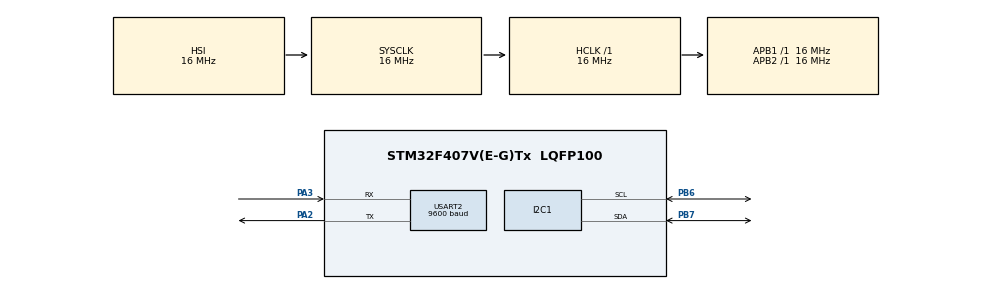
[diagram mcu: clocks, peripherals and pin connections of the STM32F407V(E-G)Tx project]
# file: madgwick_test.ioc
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Mcu.Family=STM32F4
Mcu.Name=STM32F407V(E-G)Tx
Mcu.Package=LQFP100
NVIC.I2C1_ER_IRQn=true\:0\:0\:false\:false\:true\:true\:true\:true
NVIC.I2C1_EV_IRQn=true\:0\:0\:false\:false\:true\:true\:true\:true
NVIC.PriorityGroup=NVIC_PRIORITYGROUP_4
PA2.Mode=Asynchronous
PA2.Signal=USART2_TX
PA3.Mode=Asynchronous
PA3.Signal=USART2_RX
PB6.Mode=I2C
PB6.Signal=I2C1_SCL
PB7.Mode=I2C
PB7.Signal=I2C1_SDA
PH0-OSC_IN.Mode=HSE-External-Oscillator
PH0-OSC_IN.Signal=RCC_OSC_IN
PH1-OSC_OUT.Mode=HSE-External-Oscillator
PH1-OSC_OUT.Signal=RCC_OSC_OUT
ProjectManager.HeapSize=0x200
ProjectManager.StackSize=0x400
ProjectManager.TargetToolchain=STM32CubeIDE
RCC.48MHZClocksFreq_Value=75000000
RCC.AHBFreq_Value=16000000
RCC.APB1Freq_Value=16000000
RCC.APB2Freq_Value=16000000
RCC.CortexFreq_Value=16000000
RCC.HSE_VALUE=25000000
RCC.HSI_VALUE=16000000
RCC.LSE_VALUE=32768
RCC.PLLSourceVirtual=RCC_PLLSOURCE_HSE
RCC.SYSCLKFreq_VALUE=16000000
RCC.VCOOutputFreq_Value=300000000
USART2.BaudRate=9600
USART2.Mode=MODE_TX
USART2.VirtualMode=VM_ASYNC
board=custom

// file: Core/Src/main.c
/* USER CODE BEGIN Header */
/**
  ******************************************************************************
  * @file           : main.c
  * @brief          : Main program body
  ******************************************************************************
  * @attention
  *
  * Copyright (c) 2023 STMicroelectronics.
  * All rights reserved.
  *
  * This software is licensed under terms that can be found in the LICENSE file
  * in the root directory of this software component.
  * If no LICENSE file comes with this software, it is provided AS-IS.
  *
  ******************************************************************************
  */
/* USER CODE END Header */
#include "main.h"

/* USER CODE BEGIN Includes */
#include "lis331dlh.h"
#include "i3g4250d.h"
#include "lis3mdl.h"
#include "Fusion.h"
#include <string.h>
#include <stdio.h>
/* USER CODE END Includes */

/* USER CODE BEGIN PD */
#define BOOT_TIME				5 //ms
/* USER CODE END PD */

I2C_HandleTypeDef hi2c1;

UART_HandleTypeDef huart2;

/* USER CODE BEGIN PV */
stmdev_ctx_t lis331dlh_ctx;
stmdev_ctx_t i3g4250d_ctx;
stmdev_ctx_t lis3mdl_ctx;
static float magnetic_data[3];
static float acceleration_data[3];
static float gyro_data[3];
static int32_t ret;
static FusionAhrs ahrs;

/* USER CODE END PV */

void SystemClock_Config(void);
static void MX_GPIO_Init(void);
static void MX_I2C1_Init(void);
static void MX_USART2_UART_Init(void);
/* USER CODE BEGIN PFP */
#ifdef __GNUC__
#define PUTCHAR_PROTOTYPE int __io_putchar(int ch)
#else
#define PUTCHAR_PROTOTYPE int fputc(int ch, FILE *f)
#endif
PUTCHAR_PROTOTYPE
{
  HAL_UART_Transmit(&huart2, (uint8_t *)&ch, 1, HAL_MAX_DELAY);
  return ch;
}
static uint8_t tx_buffer[1000];
static void tx_com(uint8_t *tx_buffer, uint16_t len);
/* USER CODE END PFP */

int main(void)
{

  /* MCU Configuration--------------------------------------------------------*/

  /* Reset of all peripherals, Initializes the Flash interface and the Systick. */
  HAL_Init();

  /* USER CODE BEGIN Init */
  FusionAhrsInitialise(&ahrs);
  /* USER CODE END Init */

  /* Configure the system clock */
  SystemClock_Config();

  /* Initialize all configured peripherals */
  MX_GPIO_Init();
  MX_I2C1_Init();
  MX_USART2_UART_Init();
  /* USER CODE BEGIN 2 */

  ret = configure_lis331dlh(&hi2c1, &lis331dlh_ctx);
  if(ret != 0)
  {
	  Error_Handler();
  }

  ret = configure_i3g4250d(&hi2c1, &i3g4250d_ctx);
  if(ret != 0)
  {
	 Error_Handler();
  }

  ret = configure_lis3mdl(&hi2c1, &lis3mdl_ctx);
  if(ret != 0)
  {
    Error_Handler();
  }
  sprintf((char *)tx_buffer, "All devices are up!\n");
  tx_com(tx_buffer, strlen((char const *)tx_buffer));

  /* USER CODE END 2 */

  /* Infinite loop */
  /* USER CODE BEGIN WHILE */

  while (1)
  {
	const char sym = "sas";
	HAL_UART_Transmit(&huart2, (uint8_t *)&sym, 1, HAL_MAX_DELAY);
    /* USER CODE END WHILE */

    /* USER CODE BEGIN 3 */
	ret = read_acceleration_data(&lis331dlh_ctx, acceleration_data);
	ret = read_gyroscope_data_fifo(&i3g4250d_ctx, gyro_data);
	ret = read_mag_data(&lis3mdl_ctx, magnetic_data);
	const FusionVector gyro = {{gyro_data[0], gyro_data[1], gyro_data[2]}};
	const FusionVector acceleration = {{acceleration_data[0], acceleration_data[1], acceleration_data[2]}};
	const FusionVector magnetic= {{magnetic_data[0], magnetic_data[1], magnetic_data[2]}};

	FusionAhrsUpdate(&ahrs, gyro, acceleration, magnetic, 0.01f);
	const FusionEuler euler = FusionQuaternionToEuler(FusionAhrsGetQuaternion(&ahrs));
	sprintf((char *)tx_buffer, "Roll %0.1f, Pitch %0.1f, Yaw %0.1f\n", euler.angle.roll, euler.angle.pitch, euler.angle.yaw);
	tx_com(tx_buffer, strlen((char const *)tx_buffer));
  }
  /* USER CODE END 3 */
}

void SystemClock_Config(void)
{
  RCC_OscInitTypeDef RCC_OscInitStruct = {0};
  RCC_ClkInitTypeDef RCC_ClkInitStruct = {0};

  /** Configure the main internal regulator output voltage
  */
  __HAL_RCC_PWR_CLK_ENABLE();
  __HAL_PWR_VOLTAGESCALING_CONFIG(PWR_REGULATOR_VOLTAGE_SCALE1);

  /** Initializes the RCC Oscillators according to the specified parameters
  * in the RCC_OscInitTypeDef structure.
  */
  RCC_OscInitStruct.OscillatorType = RCC_OSCILLATORTYPE_HSI;
  RCC_OscInitStruct.HSIState = RCC_HSI_ON;
  RCC_OscInitStruct.HSICalibrationValue = RCC_HSICALIBRATION_DEFAULT;
  RCC_OscInitStruct.PLL.PLLState = RCC_PLL_NONE;
  if (HAL_RCC_OscConfig(&RCC_OscInitStruct) != HAL_OK)
  {
    Error_Handler();
  }

  /** Initializes the CPU, AHB and APB buses clocks
  */
  RCC_ClkInitStruct.ClockType = RCC_CLOCKTYPE_HCLK|RCC_CLOCKTYPE_SYSCLK
                              |RCC_CLOCKTYPE_PCLK1|RCC_CLOCKTYPE_PCLK2;
  RCC_ClkInitStruct.SYSCLKSource = RCC_SYSCLKSOURCE_HSI;
  RCC_ClkInitStruct.AHBCLKDivider = RCC_SYSCLK_DIV1;
  RCC_ClkInitStruct.APB1CLKDivider = RCC_HCLK_DIV1;
  RCC_ClkInitStruct.APB2CLKDivider = RCC_HCLK_DIV1;

  if (HAL_RCC_ClockConfig(&RCC_ClkInitStruct, FLASH_LATENCY_0) != HAL_OK)
  {
    Error_Handler();
  }
}

static void MX_I2C1_Init(void)
{

  hi2c1.Instance = I2C1;
  hi2c1.Init.ClockSpeed = 100000;
  hi2c1.Init.DutyCycle = I2C_DUTYCYCLE_2;
  hi2c1.Init.OwnAddress1 = 0;
  hi2c1.Init.AddressingMode = I2C_ADDRESSINGMODE_7BIT;
  hi2c1.Init.DualAddressMode = I2C_DUALADDRESS_DISABLE;
  hi2c1.Init.OwnAddress2 = 0;
  hi2c1.Init.GeneralCallMode = I2C_GENERALCALL_DISABLE;
  hi2c1.Init.NoStretchMode = I2C_NOSTRETCH_DISABLE;
  if (HAL_I2C_Init(&hi2c1) != HAL_OK)
  {
    Error_Handler();
  }

}

static void MX_USART2_UART_Init(void)
{

  huart2.Instance = USART2;
  huart2.Init.BaudRate = 9600;
  huart2.Init.WordLength = UART_WORDLENGTH_8B;
  huart2.Init.StopBits = UART_STOPBITS_1;
  huart2.Init.Parity = UART_PARITY_NONE;
  huart2.Init.Mode = UART_MODE_TX;
  huart2.Init.HwFlowCtl = UART_HWCONTROL_NONE;
  huart2.Init.OverSampling = UART_OVERSAMPLING_16;
  if (HAL_UART_Init(&huart2) != HAL_OK)
  {
    Error_Handler();
  }

}

static void MX_GPIO_Init(void)
{

  /* GPIO Ports Clock Enable */
  __HAL_RCC_GPIOH_CLK_ENABLE();
  __HAL_RCC_GPIOA_CLK_ENABLE();
  __HAL_RCC_GPIOB_CLK_ENABLE();

/* USER CODE BEGIN MX_GPIO_Init_2 */
  GPIO_InitTypeDef GPIO_InitStruct;
  __USART2_CLK_ENABLE();
  __GPIOA_CLK_ENABLE();
  GPIO_InitStruct.Pin = GPIO_PIN_2;
  GPIO_InitStruct.Mode = GPIO_MODE_AF_PP;
  GPIO_InitStruct.Alternate = GPIO_AF7_USART2;
  GPIO_InitStruct.Pull = GPIO_PULLUP;
  GPIO_InitStruct.Speed = GPIO_SPEED_FREQ_HIGH;
  HAL_GPIO_Init(GPIOA, &GPIO_InitStruct);
  GPIO_InitStruct.Pin = GPIO_PIN_3;
  GPIO_InitStruct.Alternate = GPIO_AF7_USART2;
  GPIO_InitStruct.Pull = GPIO_PULLUP;
  GPIO_InitStruct.Speed = GPIO_SPEED_FREQ_HIGH;
  GPIO_InitStruct.Mode = GPIO_MODE_AF_OD;
  HAL_GPIO_Init(GPIOA, &GPIO_InitStruct);

/* USER CODE END MX_GPIO_Init_2 */
}

/* USER CODE BEGIN 4 */

/*
 * @brief  Send buffer to console (platform dependent)
 *
 * @param  tx_buffer     buffer to transmit
 * @param  len           number of byte to send
 *
 */

static void tx_com(uint8_t *tx_buffer, uint16_t len)
{
  HAL_UART_Transmit(&huart2, tx_buffer, len, 1000);
}
/* USER CODE END 4 */

void Error_Handler(void)
{
  /* USER CODE BEGIN Error_Handler_Debug */
  /* User can add his own implementation to report the HAL error return state */
  __disable_irq();
  while (1)
  {
	  printf("Error occurred");
  }
  /* USER CODE END Error_Handler_Debug */
}
